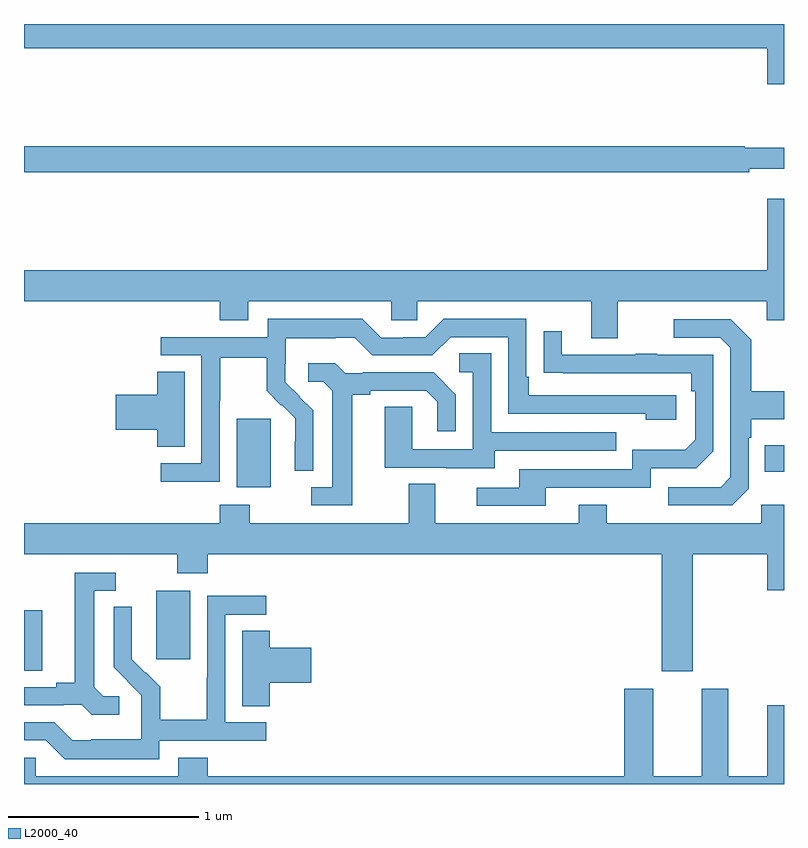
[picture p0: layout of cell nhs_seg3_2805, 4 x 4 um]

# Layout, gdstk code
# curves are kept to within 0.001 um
import gdstk
lib = gdstk.Library(unit=1e-6, precision=1e-09)
def R(c, l, rs):  # rectangles x0, y0, x1, y1
    for r in rs: c.add(gdstk.rectangle(r[:2], r[2:], *l))
def P(c, l, *ps):  # polygons
    for p in ps: c.add(gdstk.Polygon(p, *l))
L2000_40 = (2000, 40)

nhs_seg3_2805 = lib.new_cell('nhs_seg3_2805')
R(nhs_seg3_2805, L2000_40, [(257,674.995,257.095,675.315), (257.696,675.057,257.875,675.418), (258.119,675.962,258.298,676.323), (260.899,676.043,261,676.183)])
P(nhs_seg3_2805, L2000_40, [(261,678.4),(257,678.4),(257,678.272),(260.912,678.272),(260.912,678.084),(261,678.084)],
  [(260.816,677.639),(261,677.639),(261,677.749),(260.794,677.749),(260.794,677.756),(257,677.756),(257,677.62),(260.816,677.62)],
  [(260.125,676.94),(260.909,676.94),(260.909,676.841),(261,676.841),(261,677.479),(260.912,677.479),(260.912,677.104),(257,677.104),(257,676.94),(258.029,676.94),(258.029,676.841),(258.181,676.841),(258.181,676.94),(258.933,676.94),(258.933,676.842),(259.071,676.842),(259.071,676.94),(259.985,676.94),(259.985,676.746),(260.125,676.746)],
  [(258.03,676.42),(258.033,676.42),(258.033,676.644),(258.277,676.644),(258.277,676.469),(258.354,676.392),(258.357,676.395),(258.428,676.325),(258.428,676.202),(258.426,676.202),(258.426,676.048),(258.522,676.048),(258.522,676.366),(258.376,676.514),(258.376,676.611),(258.378,676.611),(258.378,676.745),(258.641,676.745),(258.641,676.749),(258.741,676.749),(258.834,676.656),(259.149,676.656),(259.245,676.752),(259.548,676.752),(259.548,676.35),(260.273,676.35),(260.273,676.316),(260.434,676.316),(260.434,676.446),(259.657,676.446),(259.657,676.543),(259.644,676.543),(259.644,676.848),(259.209,676.848),(259.113,676.752),(258.995,676.752),(258.995,676.749),(258.879,676.749),(258.779,676.849),(258.282,676.849),(258.282,676.752),(257.721,676.752),(257.721,676.656),(257.934,676.656),(257.934,676.089),(257.721,676.089),(257.721,675.991),(258.03,675.991)],
  [(260.814,675.954),(260.814,676.223),(260.827,676.223),(260.827,676.319),(261,676.319),(261,676.467),(260.827,676.467),(260.827,676.739),(260.721,676.845),(260.421,676.845),(260.421,676.749),(260.664,676.749),(260.718,676.695),(260.718,676.014),(260.667,675.963),(260.391,675.963),(260.391,675.867),(260.727,675.867)],
  [(259.747,675.96),(260.298,675.96),(260.298,676.062),(260.538,676.062),(260.628,676.152),(260.628,676.659),(260.333,676.659),(260.333,676.664),(260.221,676.664),(260.221,676.659),(259.831,676.659),(259.831,676.783),(259.735,676.783),(259.735,676.564),(260.512,676.563),(260.512,676.466),(260.532,676.466),(260.532,676.212),(260.479,676.159),(260.202,676.159),(260.202,676.056),(259.607,676.056),(259.607,675.96),(259.383,675.96),(259.383,675.864),(259.747,675.864)],
  [(259.477,676.155),(260.117,676.155),(260.117,676.251),(259.458,676.251),(259.458,676.667),(259.29,676.667),(259.29,676.566),(259.362,676.566),(259.362,676.161),(259.044,676.161),(259.044,676.385),(258.899,676.385),(258.899,676.065),(259.223,676.065),(259.223,676.061),(259.477,676.061)],
  [(258.727,676.448),(258.823,676.448),(258.823,676.47),(259.118,676.47),(259.175,676.413),(259.175,676.257),(259.272,676.257),(259.272,676.45),(259.156,676.566),(258.784,676.566),(258.784,676.563),(258.69,676.563),(258.638,676.615),(258.495,676.615),(258.495,676.518),(258.576,676.518),(258.623,676.471),(258.623,675.963),(258.513,675.963),(258.513,675.867),(258.727,675.867)],
  [(257.845,676.571),(257.702,676.571),(257.702,676.448),(257.484,676.448),(257.484,676.265),(257.702,676.265),(257.702,676.174),(257.845,676.174)],
  [(260.521,675.608),(260.912,675.608),(260.912,675.42),(261,675.42),(261,675.871),(260.88,675.871),(260.88,675.772),(260.067,675.772),(260.067,675.871),(259.919,675.871),(259.919,675.772),(259.165,675.772),(259.165,675.98),(259.025,675.98),(259.025,675.772),(258.189,675.772),(258.189,675.871),(258.029,675.871),(258.029,675.772),(257,675.772),(257,675.608),(257.806,675.608),(257.806,675.509),(257.966,675.509),(257.966,675.608),(260.357,675.608),(260.357,674.994),(260.521,674.994)],
  [(257.5,674.862),(257.418,674.862),(257.371,674.909),(257.371,675.417),(257.482,675.417),(257.482,675.513),(257.267,675.513),(257.267,674.933),(257.171,674.933),(257.171,674.91),(257,674.91),(257,674.814),(257.21,674.814),(257.21,674.817),(257.304,674.817),(257.356,674.765),(257.5,674.765)],
  [(257.712,674.628),(258.274,674.628),(258.274,674.724),(258.06,674.724),(258.06,675.291),(258.274,675.291),(258.274,675.39),(257.964,675.39),(257.964,674.96),(257.962,674.96),(257.962,674.737),(257.717,674.737),(257.717,674.911),(257.64,674.988),(257.637,674.985),(257.567,675.056),(257.568,675.332),(257.472,675.332),(257.472,675.014),(257.618,674.866),(257.618,674.769),(257.616,674.769),(257.616,674.635),(257.353,674.635),(257.353,674.631),(257.253,674.631),(257.16,674.724),(257,674.724),(257,674.631),(257.115,674.631),(257.215,674.531),(257.712,674.531)],
  [(258.293,674.933),(258.511,674.933),(258.511,675.116),(258.293,675.116),(258.293,675.206),(258.149,675.206),(258.149,674.809),(258.293,674.809)],
  [(261,674.815),(260.912,674.815),(260.912,674.44),(260.707,674.44),(260.707,674.902),(260.567,674.902),(260.567,674.44),(260.311,674.44),(260.311,674.902),(260.159,674.902),(260.159,674.44),(257.966,674.44),(257.966,674.539),(257.813,674.539),(257.813,674.44),(257.061,674.44),(257.061,674.538),(257,674.538),(257,674.4),(261,674.4)])

lib.write_gds('nhs_seg3_2805.gds')
